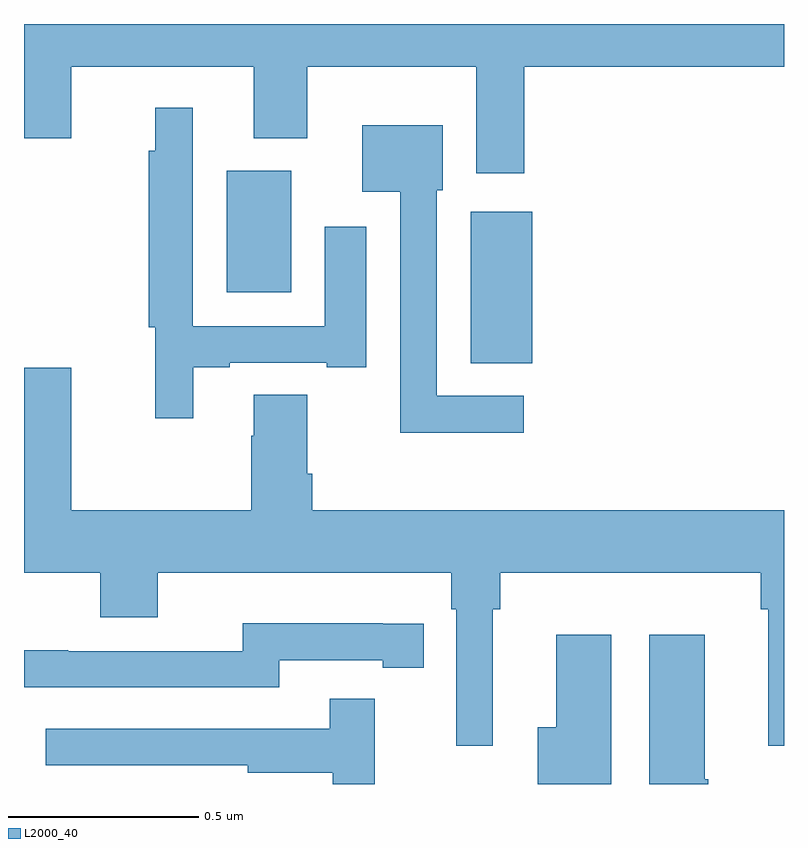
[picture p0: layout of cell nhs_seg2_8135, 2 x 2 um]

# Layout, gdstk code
import gdstk
lib = gdstk.Library(unit=1e-6, precision=1e-09)
def R(c, l, rs):  # rectangles x0, y0, x1, y1
    for r in rs: c.add(gdstk.rectangle(r[:2], r[2:], *l))
def P(c, l, *ps):  # polygons
    for p in ps: c.add(gdstk.Polygon(p, *l))
L2000_40 = (2000, 40)

nhs_seg2_8135 = lib.new_cell('nhs_seg2_8135')
R(nhs_seg2_8135, L2000_40, [(214.175,594.907,214.337,595.306), (213.533,595.094,213.703,595.414)])
P(nhs_seg2_8135, L2000_40, [(214.316,595.688),(215,595.688),(215,595.8),(213,595.8),(213,595.5),(213.124,595.5),(213.124,595.688),(213.605,595.688),(213.605,595.499),(213.745,595.499),(213.745,595.688),(214.19,595.688),(214.19,595.407),(214.316,595.407)],
  [(213.445,594.897),(213.541,594.897),(213.541,594.909),(213.797,594.909),(213.797,594.897),(213.901,594.897),(213.901,595.267),(213.791,595.267),(213.791,595.005),(213.444,595.005),(213.444,595.579),(213.346,595.579),(213.346,595.466),(213.328,595.466),(213.328,595.002),(213.346,595.002),(213.346,594.762),(213.445,594.762)],
  [(214.315,594.822),(214.086,594.822),(214.086,595.362),(214.102,595.362),(214.102,595.534),(213.89,595.534),(213.89,595.358),(213.99,595.358),(213.99,594.725),(214.315,594.725)],
  [(214.234,594.26),(214.253,594.26),(214.253,594.356),(214.939,594.356),(214.939,594.26),(214.958,594.26),(214.958,593.901),(215,593.901),(215,594.52),(213.758,594.52),(213.758,594.616),(213.745,594.616),(213.745,594.824),(213.605,594.824),(213.605,594.716),(213.598,594.716),(213.598,594.52),(213.124,594.52),(213.124,594.895),(213,594.895),(213,594.356),(213.2,594.356),(213.2,594.239),(213.352,594.239),(213.352,594.356),(214.124,594.356),(214.124,594.26),(214.137,594.26),(214.137,593.901),(214.234,593.901)],
  [(213.672,594.126),(213.944,594.126),(213.944,594.106),(214.052,594.106),(214.052,594.222),(213.944,594.222),(213.944,594.223),(213.576,594.223),(213.576,594.15),(213.116,594.15),(213.116,594.152),(213,594.152),(213,594.054),(213.672,594.054)],
  [(214.546,594.193),(214.4,594.193),(214.4,593.95),(214.352,593.95),(214.352,593.8),(214.546,593.8)],
  [(214.8,593.813),(214.792,593.813),(214.792,594.193),(214.646,594.193),(214.646,593.8),(214.8,593.8)],
  [(213.923,594.025),(213.805,594.025),(213.805,593.946),(213.057,593.946),(213.057,593.85),(213.589,593.85),(213.589,593.83),(213.813,593.83),(213.813,593.8),(213.923,593.8)])

lib.write_gds('nhs_seg2_8135.gds')
